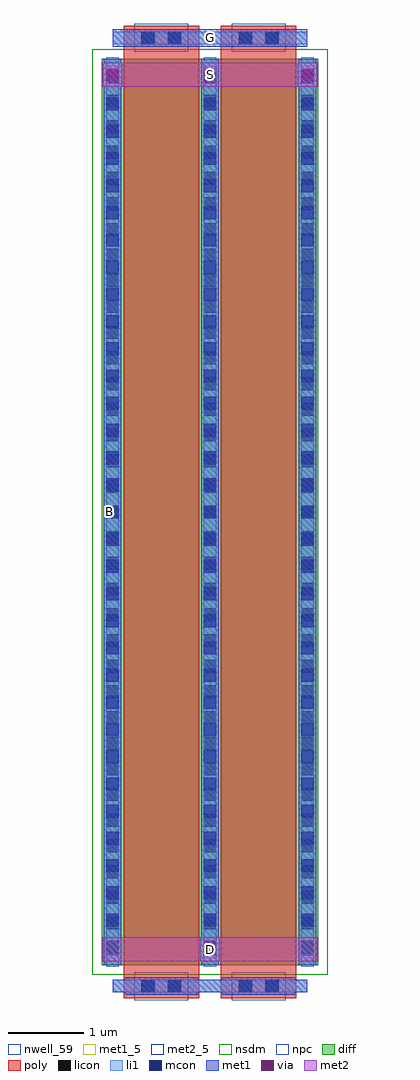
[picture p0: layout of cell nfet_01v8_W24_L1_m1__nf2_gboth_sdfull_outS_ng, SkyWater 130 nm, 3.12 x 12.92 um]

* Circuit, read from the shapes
.subckt nfet_01v8_W24_L1_m1__nf2_gboth_sdfull_outS_ng B D G S
XM1 D G S B sky130_fd_pr__nfet_01v8 w=12 l=1 m=2
.ends

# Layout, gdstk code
import gdstk
lib = gdstk.Library(unit=1e-6, precision=1e-09)
def R(c, l, rs):  # rectangles x0, y0, x1, y1
    for r in rs: c.add(gdstk.rectangle(r[:2], r[2:], *l))
def A(c, l, x, y, w, h, nx, ny, dx, dy):  # array of equal rectangles
    R(c, l, [(x+i*dx, y+j*dy, x+i*dx+w, y+j*dy+h) for i in range(nx) for j in range(ny)])
nwell_59 = (64, 59)
diff = (65, 20)
poly = (66, 20)
licon = (66, 44)
li1 = (67, 20)
mcon = (67, 44)
met1_5 = (68, 5)
met1 = (68, 20)
via = (68, 44)
met2_5 = (69, 5)
met2 = (69, 20)
nsdm = (93, 44)
npc = (95, 20)

sky130_fd_pr__nfet_01v8_ = lib.new_cell('sky130_fd_pr__nfet_01v8_JU25G6')
R(sky130_fd_pr__nfet_01v8_, diff, [(-1.435,-6,1.435,6)])
R(sky130_fd_pr__nfet_01v8_, poly, [(-1.145,-6.44,-0.145,6.44), (0.145,-6.44,1.145,6.44)])
A(sky130_fd_pr__nfet_01v8_, licon, -1.375, -5.865, 0.17, 0.17, 3, 35, 1.29, 0.34)
R(sky130_fd_pr__nfet_01v8_, licon, [(-0.9,-6.36,-0.73,-6.19), (-0.56,-6.36,-0.39,-6.19), (0.39,-6.36,0.56,-6.19), (0.73,-6.36,0.9,-6.19), (-0.9,6.19,-0.73,6.36), (-0.56,6.19,-0.39,6.36), (0.39,6.19,0.56,6.36), (0.73,6.19,0.9,6.36)])
A(sky130_fd_pr__nfet_01v8_, li1, -1.375, -6.02, 0.17, 12.04, 3, 1, 1.29, 0)
R(sky130_fd_pr__nfet_01v8_, li1, [(-1.29,-6.36,1.29,-6.19), (-1.29,6.19,1.29,6.36)])
A(sky130_fd_pr__nfet_01v8_, mcon, -1.375, -5.845, 0.17, 0.17, 3, 33, 1.29, 0.36)
R(sky130_fd_pr__nfet_01v8_, mcon, [(-0.91,-6.36,-0.74,-6.19), (-0.55,-6.36,-0.38,-6.19), (0.38,-6.36,0.55,-6.19), (0.74,-6.36,0.91,-6.19), (-0.91,6.19,-0.74,6.36), (-0.55,6.19,-0.38,6.36), (0.38,6.19,0.55,6.36), (0.74,6.19,0.91,6.36)])
A(sky130_fd_pr__nfet_01v8_, met1, -1.405, -6, 0.23, 12, 3, 1, 1.29, 0)
R(sky130_fd_pr__nfet_01v8_, met1, [(-1.125,-6.39,-0.165,-6.36), (0.165,-6.39,1.125,-6.36), (-1.29,-6.36,1.29,-6.19), (-1.125,-6.19,-0.165,-6.16), (0.165,-6.19,1.125,-6.16), (-1.125,6.16,-0.165,6.19), (0.165,6.16,1.125,6.19), (-1.29,6.19,1.29,6.36), (-1.125,6.36,-0.165,6.39), (0.165,6.36,1.125,6.39)])
R(sky130_fd_pr__nfet_01v8_, nsdm, [(-1.56,-6.125,1.56,6.125)])
R(sky130_fd_pr__nfet_01v8_, npc, [(-1,-6.46,-0.29,-6.09), (0.29,-6.46,1,-6.09), (-1,6.09,-0.29,6.46), (0.29,6.09,1,6.46)])
sky130_fd_pr__nfet_01v8_.add(gdstk.Label('D0', (-1.29,0), layer=67, texttype=5))
sky130_fd_pr__nfet_01v8_.add(gdstk.Label('G', (0.645,6.275), layer=67, texttype=5))
sky130_fd_pr__nfet_01v8_.add(gdstk.Label('G', (-0.645,6.275), layer=67, texttype=5))
sky130_fd_pr__nfet_01v8_.add(gdstk.Label('S1', (0,0), layer=67, texttype=5))

nfet_01v8_w24_l1_m1__nf2 = lib.new_cell('nfet_01v8_W24_L1_m1__nf2_gboth_sdfull_outS_ng')
R(nfet_01v8_w24_l1_m1__nf2, nwell_59, [(0.05,6.39,0.15,6.49)])
R(nfet_01v8_w24_l1_m1__nf2, met1_5, [(0.145,12.6,2.725,12.83)])
R(nfet_01v8_w24_l1_m1__nf2, met1, [(1.305,0.49,1.565,0.81), (0.015,12.07,0.275,12.39), (2.595,12.07,2.855,12.39), (0.145,12.6,2.725,12.83)])
R(nfet_01v8_w24_l1_m1__nf2, via, [(1.36,0.575,1.51,0.725), (0.07,12.155,0.22,12.305), (2.65,12.155,2.8,12.305)])
R(nfet_01v8_w24_l1_m1__nf2, met2_5, [(0.01,0.49,2.86,0.81), (0.01,12.07,2.86,12.39)])
R(nfet_01v8_w24_l1_m1__nf2, met2, [(0.01,0.49,2.86,0.81), (0.01,12.07,2.86,12.39)])
nfet_01v8_w24_l1_m1__nf2.add(gdstk.Reference(sky130_fd_pr__nfet_01v8_, (1.435,6.44)))
nfet_01v8_w24_l1_m1__nf2.add(gdstk.Label('S', (1.435,12.23), layer=69, texttype=5))
nfet_01v8_w24_l1_m1__nf2.add(gdstk.Label('D', (1.435,0.65), layer=69, texttype=5))
nfet_01v8_w24_l1_m1__nf2.add(gdstk.Label('G', (1.435,12.715), layer=68, texttype=5))
nfet_01v8_w24_l1_m1__nf2.add(gdstk.Label('B', (0.1,6.44), layer=64, texttype=59))

lib.write_gds('nfet_01v8_W24_L1_m1__nf2_gboth_sdfull_outS_ng.gds')
